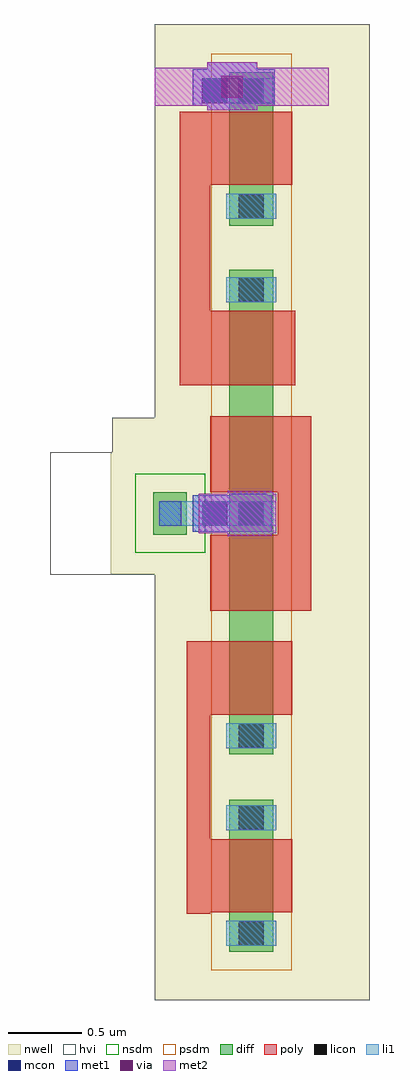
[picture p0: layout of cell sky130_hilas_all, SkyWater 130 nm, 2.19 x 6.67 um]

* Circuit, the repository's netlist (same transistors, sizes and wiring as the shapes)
* Copyright 2020 The Hilas PDK Authors
* 
* This file is part of HILAS.
* 
* HILAS is free software: you can redistribute it and/or modify
* it under the terms of the GNU Lesser General Public License as published by
* the Free Software Foundation, version 3 of the License.
* 
* HILAS is distributed in the hope that it will be useful,
* but WITHOUT ANY WARRANTY; without even the implied warranty of
* MERCHANTABILITY or FITNESS FOR A PARTICULAR PURPOSE.  See the
* GNU Lesser General Public License for more details.
* 
* You should have received a copy of the GNU Lesser General Public License
* along with HILAS.  If not, see <https://www.gnu.org/licenses/>.
* 
* Licensed under the Lesser General Public License, Version 3.0 (the "License");
* you may not use this file except in compliance with the License.
* You may obtain a copy of the License at
* 
* https://www.gnu.org/licenses/lgpl-3.0.en.html
* 
* Unless required by applicable law or agreed to in writing, software
* distributed under the License is distributed on an "AS IS" BASIS,
* WITHOUT WARRANTIES OR CONDITIONS OF ANY KIND, either express or implied.
* See the License for the specific language governing permissions and
* limitations under the License.
* 
* SPDX-License-Identifier: LGPL-3.0
* 
* 

* NGSPICE file created from sky130_hilas_all.ext - technology: sky130A


* Top level circuit sky130_hilas_all

X0 a_n1042_n392# a_n1100_n764# a_n1042_n546# w_n1204_n300# sky130_fd_pr__pfet_g5v0d10v5 w=300000u l=500000u
X1 a_n1042_n662# a_n1100_n764# a_n1042_n816# w_n1204_n300# sky130_fd_pr__pfet_g5v0d10v5 w=300000u l=500000u
X2 a_n1042_60# a_n1110_n42# a_n1042_n84# w_n1204_n300# sky130_fd_pr__pfet_g5v0d10v5 w=300000u l=510000u
X3 a_n1042_n84# a_n1068_n350# a_n1042_n246# w_n1204_n300# sky130_fd_pr__pfet_g5v0d10v5 w=300000u l=520000u
X4 a_n1042_n246# a_n1068_n350# a_n1042_n392# w_n1204_n300# sky130_fd_pr__pfet_g5v0d10v5 w=300000u l=520000u
X5 a_n1042_332# a_n1110_n42# a_n1042_176# w_n1204_n300# sky130_fd_pr__pfet_g5v0d10v5 w=300000u l=500000u
.end

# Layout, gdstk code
import gdstk
lib = gdstk.Library(unit=1e-6, precision=1e-09)
def R(c, l, rs):  # rectangles x0, y0, x1, y1
    for r in rs: c.add(gdstk.rectangle(r[:2], r[2:], *l))
nwell = (64, 20)
diff = (65, 20)
poly = (66, 20)
licon = (66, 44)
li1 = (67, 20)
mcon = (67, 44)
met1 = (68, 20)
via = (68, 44)
met2 = (69, 20)
hvi = (75, 20)
nsdm = (93, 44)
psdm = (94, 20)

sky130_hilas_all = lib.new_cell('sky130_hilas_all')
R(sky130_hilas_all, nwell, [(0.3,0,1.77,2.91), (0,2.91,1.77,3.74), (0.01,3.74,1.77,3.98), (0.3,3.98,1.77,6.67)])
R(sky130_hilas_all, diff, [(0.81,0.33,1.11,1.37), (0.81,1.68,1.11,4.99), (0.29,3.18,0.52,3.47), (0.81,5.29,1.11,6.34)])
R(sky130_hilas_all, poly, [(0.52,0.59,0.68,0.6), (0.52,0.6,1.24,1.1), (0.52,1.1,0.68,1.95), (0.52,1.95,1.24,2.45), (0.68,2.66,1.37,3.18), (1.14,3.18,1.37,3.47), (0.68,3.47,1.37,3.99), (0.47,4.2,1.26,4.71), (0.47,4.71,0.68,5.57), (0.47,5.57,1.24,6.07)])
R(sky130_hilas_all, licon, [(0.875,0.37,1.045,0.54), (0.875,1.16,1.045,1.33), (0.875,1.72,1.045,1.89), (0.875,3.24,1.045,3.41), (0.875,4.77,1.045,4.94), (0.875,5.34,1.045,5.51), (0.87,6.13,1.04,6.3)])
R(sky130_hilas_all, li1, [(0.79,0.37,1.13,0.54), (0.79,1.16,1.13,1.33), (0.79,1.72,1.13,1.89), (0.33,3.24,1.13,3.41), (0.79,4.77,1.13,4.94), (0.79,5.34,1.13,5.51), (0.62,6.13,1.12,6.3)])
R(sky130_hilas_all, mcon, [(0.625,3.24,0.795,3.41), (0.625,6.13,0.795,6.3)])
R(sky130_hilas_all, met1, [(0.56,3.2,1.1,3.45), (0.33,3.24,0.48,3.41), (0.82,3.45,1.07,3.46), (0.66,6.08,1,6.11), (0.56,6.11,1.12,6.36), (0.66,6.36,1,6.41)])
R(sky130_hilas_all, via, [(0.755,6.165,0.905,6.315)])
R(sky130_hilas_all, met2, [(0.8,3.17,1.1,3.19), (0.6,3.19,1.13,3.46), (0.8,3.46,1.11,3.47), (0.8,3.47,1.1,3.48), (0.66,6.08,1,6.11), (0.3,6.11,1.49,6.37), (0.66,6.37,1,6.41)])
R(sky130_hilas_all, hvi, [(0.3,0,1.77,2.905), (-0.415,2.905,1.77,3.745), (0.01,3.745,1.77,3.98), (0.3,3.98,1.77,6.67)])
R(sky130_hilas_all, nsdm, [(0.165,3.055,0.645,3.595)])
R(sky130_hilas_all, psdm, [(0.685,0.205,1.235,6.465)])

lib.write_gds('sky130_hilas_all.gds')
